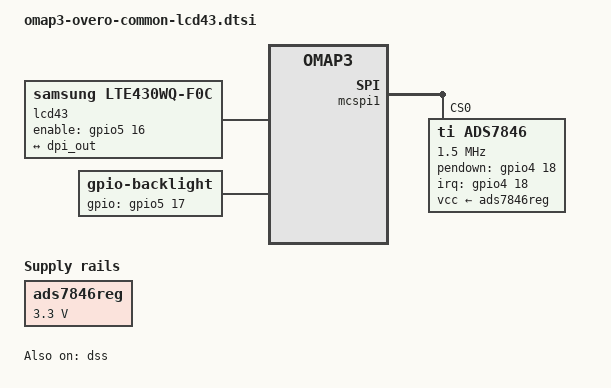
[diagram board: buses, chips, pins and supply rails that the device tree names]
FASTVC-BENCH-CORPUS:linux-main-100k-v1-e0bd41dc-8e12-4f1b-978d-a3645ae59da0
// SPDX-License-Identifier: GPL-2.0-only
/*
 * Copyright (C) 2014 Florian Vaussard, EPFL Mobots group
 */

/*
 * 4.3'' LCD panel output for some Gumstix Overo boards (Gallop43, Chestnut43)
 */

&omap3_pmx_core {
	dss_dpi_pins: pinmux_dss_dpi_pins {
		pinctrl-single,pins = <
			OMAP3_CORE1_IOPAD(0x20d4, PIN_OUTPUT | MUX_MODE0)	/* dss_pclk.dss_pclk */
			OMAP3_CORE1_IOPAD(0x20d6, PIN_OUTPUT | MUX_MODE0)	/* dss_hsync.dss_hsync */
			OMAP3_CORE1_IOPAD(0x20d8, PIN_OUTPUT | MUX_MODE0)	/* dss_vsync.dss_vsync */
			OMAP3_CORE1_IOPAD(0x20da, PIN_OUTPUT | MUX_MODE0)	/* dss_acbias.dss_acbias */
			OMAP3_CORE1_IOPAD(0x20dc, PIN_OUTPUT | MUX_MODE0)	/* dss_data0.dss_data0 */
			OMAP3_CORE1_IOPAD(0x20de, PIN_OUTPUT | MUX_MODE0)	/* dss_data1.dss_data1 */
			OMAP3_CORE1_IOPAD(0x20e0, PIN_OUTPUT | MUX_MODE0)	/* dss_data2.dss_data2 */
			OMAP3_CORE1_IOPAD(0x20e2, PIN_OUTPUT | MUX_MODE0)	/* dss_data3.dss_data3 */
			OMAP3_CORE1_IOPAD(0x20e4, PIN_OUTPUT | MUX_MODE0)	/* dss_data4.dss_data4 */
			OMAP3_CORE1_IOPAD(0x20e6, PIN_OUTPUT | MUX_MODE0)	/* dss_data5.dss_data5 */
			OMAP3_CORE1_IOPAD(0x20e8, PIN_OUTPUT | MUX_MODE0)	/* dss_data6.dss_data6 */
			OMAP3_CORE1_IOPAD(0x20ea, PIN_OUTPUT | MUX_MODE0)	/* dss_data7.dss_data7 */
			OMAP3_CORE1_IOPAD(0x20ec, PIN_OUTPUT | MUX_MODE0)	/* dss_data8.dss_data8 */
			OMAP3_CORE1_IOPAD(0x20ee, PIN_OUTPUT | MUX_MODE0)	/* dss_data9.dss_data9 */
			OMAP3_CORE1_IOPAD(0x20f0, PIN_OUTPUT | MUX_MODE0)	/* dss_data10.dss_data10 */
			OMAP3_CORE1_IOPAD(0x20f2, PIN_OUTPUT | MUX_MODE0)	/* dss_data11.dss_data11 */
			OMAP3_CORE1_IOPAD(0x20f4, PIN_OUTPUT | MUX_MODE0)	/* dss_data12.dss_data12 */
			OMAP3_CORE1_IOPAD(0x20f6, PIN_OUTPUT | MUX_MODE0)	/* dss_data13.dss_data13 */
			OMAP3_CORE1_IOPAD(0x20f8, PIN_OUTPUT | MUX_MODE0)	/* dss_data14.dss_data14 */
			OMAP3_CORE1_IOPAD(0x20fa, PIN_OUTPUT | MUX_MODE0)	/* dss_data15.dss_data15 */
			OMAP3_CORE1_IOPAD(0x20fc, PIN_OUTPUT | MUX_MODE0)	/* dss_data16.dss_data16 */
			OMAP3_CORE1_IOPAD(0x20fe, PIN_OUTPUT | MUX_MODE0)	/* dss_data17.dss_data17 */
			OMAP3_CORE1_IOPAD(0x2100, PIN_OUTPUT | MUX_MODE0)	/* dss_data18.dss_data18 */
			OMAP3_CORE1_IOPAD(0x2102, PIN_OUTPUT | MUX_MODE0)	/* dss_data19.dss_data19 */
			OMAP3_CORE1_IOPAD(0x2104, PIN_OUTPUT | MUX_MODE0)	/* dss_data20.dss_data20 */
			OMAP3_CORE1_IOPAD(0x2106, PIN_OUTPUT | MUX_MODE0)	/* dss_data21.dss_data21 */
			OMAP3_CORE1_IOPAD(0x2108, PIN_OUTPUT | MUX_MODE0)	/* dss_data22.dss_data22 */
			OMAP3_CORE1_IOPAD(0x210a, PIN_OUTPUT | MUX_MODE0)	/* dss_data23.dss_data23 */
		>;
	};

	lte430_pins: pinmux_lte430_pins {
		pinctrl-single,pins = <
			OMAP3_CORE1_IOPAD(0x2174, PIN_OUTPUT | MUX_MODE4)	/* uart2_cts.gpio_144 */
		>;
	};

	backlight_pins: pinmux_backlight_pins {
		pinctrl-single,pins = <
			OMAP3_CORE1_IOPAD(0x2176, PIN_OUTPUT | MUX_MODE4)	/* uart2_rts.gpio_145 */
		>;
	};

	mcspi1_pins: pinmux_mcspi1_pins {
		pinctrl-single,pins = <
			OMAP3_CORE1_IOPAD(0x21c8, PIN_INPUT | MUX_MODE0)	/* mcspi1_clk.mcspi1_clk */
			OMAP3_CORE1_IOPAD(0x21ca, PIN_INPUT | MUX_MODE0)	/* mcspi1_simo.mcspi1_simo */
			OMAP3_CORE1_IOPAD(0x21cc, PIN_INPUT | MUX_MODE0)	/* mcspi1_somi.mcspi1_somi */
			OMAP3_CORE1_IOPAD(0x21ce, PIN_INPUT | MUX_MODE0)	/* mcspi1_cs0.mcspi1_cs0 */
		>;
	};

	ads7846_pins: pinmux_ads7846_pins {
		pinctrl-single,pins = <
			OMAP3_CORE1_IOPAD(0x2138, PIN_INPUT_PULLDOWN | MUX_MODE4)	/* csi2_dx1.gpio_114 */
		>;
	};
/* bench 23139.0.0 bd37df0e1961 */
/* bench 23139.0.1 714f4b4983be */
/* bench 23139.0.2 d123d294584e */
/* bench 23139.0.3 5189eae13961 */
/* bench 23139.0.4 c1a1afd010cc */
/* bench 23139.0.5 877ef7e80be5 */
/* bench 23139.0.6 ac4caac2b642 */
/* bench 23139.0.7 2e33a5f55ba5 */
/* bench 23139.0.8 64cfb4dbfbc2 */
/* bench 23139.0.9 c2fdced3cc53 */
/* bench 23139.0.10 3080b612db0a */
/* bench 23139.0.11 1a48f69beeaf */
/* bench 23139.0.12 6b804fec5112 */
/* bench 23139.0.13 a9a00c4b6f24 */
/* bench 23139.0.14 bdabbbddf678 */
};

/* Needed to power the DPI pins */
&vpll2 {
	regulator-always-on;
};

&dss {
	status = "okay";

	pinctrl-names = "default";
	pinctrl-0 = <&dss_dpi_pins>;

	port {
		dpi_out: endpoint {
			remote-endpoint = <&lcd_in>;
			data-lines = <24>;
		};
	};
};

/ {
	aliases {
		display0 = &lcd0;
	};

	lcd0: display {
		compatible = "samsung,lte430wq-f0c", "panel-dpi";
		label = "lcd43";

		pinctrl-names = "default";
		pinctrl-0 = <&lte430_pins>;
		enable-gpios = <&gpio5 16 GPIO_ACTIVE_HIGH>;		/* gpio_144 */

		port {
			lcd_in: endpoint {
				remote-endpoint = <&dpi_out>;
			};
		};

		panel-timing {
			clock-frequency = <9200000>;
			hactive = <480>;
			vactive = <272>;
			hfront-porch = <8>;
			hback-porch = <4>;
			hsync-len = <41>;
			vback-porch = <2>;
			vfront-porch = <4>;
			vsync-len = <10>;

			hsync-active = <0>;
			vsync-active = <0>;
			de-active = <1>;
			pixelclk-active = <1>;
		};
	};

	ads7846reg: ads7846-reg {
		compatible = "regulator-fixed";
		regulator-name = "ads7846-reg";
		regulator-min-microvolt = <3300000>;
		regulator-max-microvolt = <3300000>;
	};

	backlight {
		compatible = "gpio-backlight";
		
		pinctrl-names = "default";
		pinctrl-0 = <&backlight_pins>;
		gpios = <&gpio5 17 GPIO_ACTIVE_HIGH>;		/* gpio_145 */

		default-on;
	};
};

&mcspi1 {
	pinctrl-names = "default";
	pinctrl-0 = <&mcspi1_pins>;
/* bench 2795.0.0 d087a02b2ea1 */
/* bench 2795.0.1 9ec10ae20ebe */
/* bench 2795.0.2 b4a2d6291129 */
/* bench 2795.0.3 53cd5bbf0d4d */
	/* touch controller */
	ads7846@0 {
		pinctrl-names = "default";
		pinctrl-0 = <&ads7846_pins>;

		compatible = "ti,ads7846";
		vcc-supply = <&ads7846reg>;

		reg = <0>;				/* CS0 */
		spi-max-frequency = <1500000>;

		interrupt-parent = <&gpio4>;
		interrupts = <18 0>;			/* gpio_114 */
		pendown-gpio = <&gpio4 18 GPIO_ACTIVE_HIGH>;

		ti,x-min = /bits/ 16 <0x0>;
		ti,x-max = /bits/ 16 <0x0fff>;
		ti,y-min = /bits/ 16 <0x0>;
		ti,y-max = /bits/ 16 <0x0fff>;
		ti,x-plate-ohms = /bits/ 16 <180>;
		ti,pressure-max = /bits/ 16 <255>;
/* bench 18864.2.0 74b7545d277b */
/* bench 18864.2.1 0ae1bb742421 */
/* bench 18864.2.2 76c465952caf */
/* bench 18864.2.3 c5b6e39c2a52 */
/* bench 18864.2.4 a8051c6da20b */
	};
};

